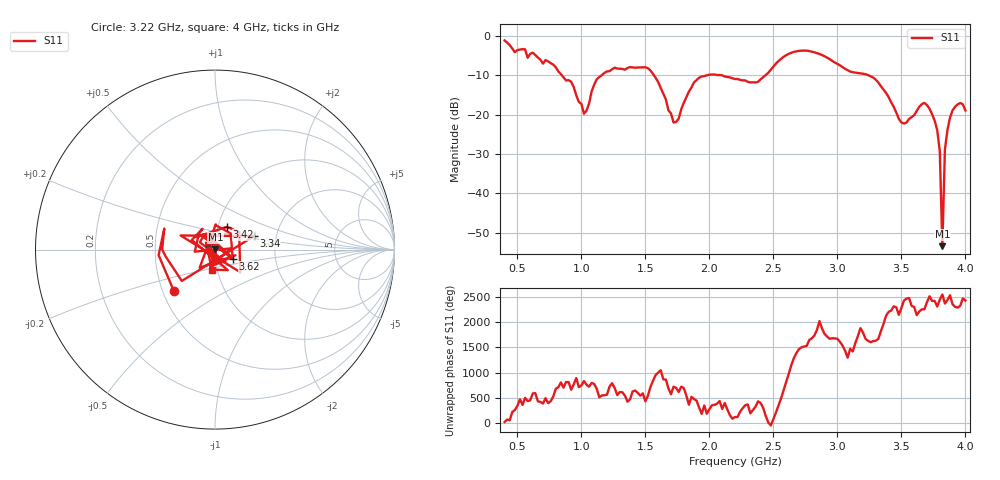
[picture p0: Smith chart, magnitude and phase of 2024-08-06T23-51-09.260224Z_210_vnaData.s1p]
!Created with skrf (http://scikit-rf.org).
# Hz S RI R 50.0
!freq ReS11 ImS11
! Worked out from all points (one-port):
!   181 points, 400 MHz to 4 GHz, reference 50 ohm
!   lowest |S11| = -53.4 dB at 3.82 GHz (marker M1), VSWR 1.00, Z = 50.2 + j0.0694 ohm
!   |S11| at or under -10 dB: 1.566 GHz to 1.986 GHz (419.4 MHz wide, 23.6 % of centre); 2.09 GHz to 2.439 GHz (349.8 MHz wide, 15.4 % of centre); 3.239 GHz to end of sweep (the widest 3 of 4)
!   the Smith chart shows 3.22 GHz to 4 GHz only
!   S11 on the Smith chart (normalised r, x): 3.22 GHz: 0.57, -0.29; 3.34 GHz: 1.53, +0.24; 3.42 GHz: 1.10, +0.28; 3.62 GHz: 1.21, -0.12; 4 GHz: 0.94, -0.21
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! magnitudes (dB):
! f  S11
! 400 MHz  -1.2
! 860 MHz  -10.6
! 920 MHz  -11.7
! 1.02 GHz  -19.8
! 1.12 GHz  -11.1
! 1.3 GHz  -8.4
! 1.52 GHz  -8.3
! 1.72 GHz  -22.0
! 1.76 GHz  -21.0
! 1.92 GHz  -10.6
! 2.2 GHz  -11.0
! 2.38 GHz  -11.7
! 2.66 GHz  -4.1
! 3.1 GHz  -9.1
! 3.22 GHz  -9.8
! 3.34 GHz  -12.8
! 3.42 GHz  -16.9
! 3.5 GHz  -22.0
! 3.56 GHz  -21.1
! 3.62 GHz  -19.1
! 3.7 GHz  -17.6
! 3.78 GHz  -24.0
! 3.8 GHz  -29.3
! 3.82 GHz  -53.4
! 3.84 GHz  -28.9
! 3.86 GHz  -23.9
! 3.92 GHz  -18.0
! 4 GHz  -19.0
